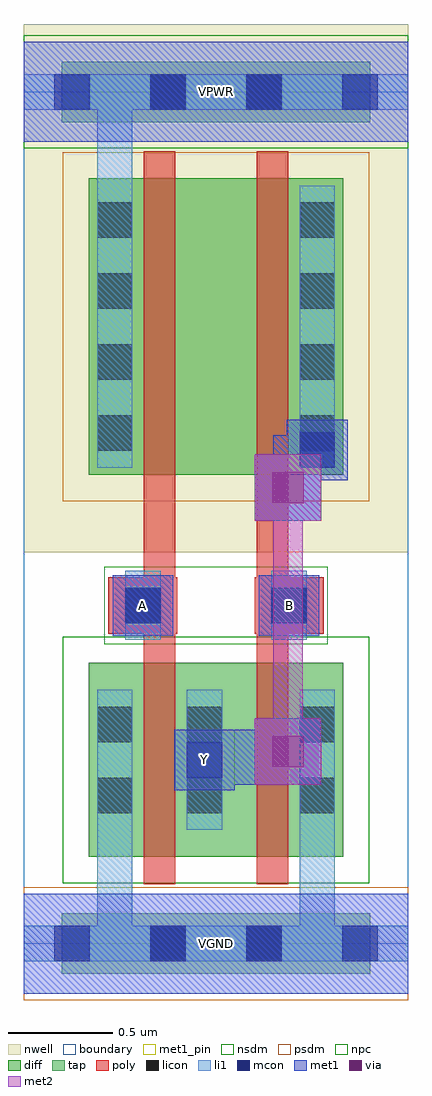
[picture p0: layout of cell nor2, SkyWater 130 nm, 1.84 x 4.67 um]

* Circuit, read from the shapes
.subckt nor2 A B VGND VPWR Y
XM1 Y A VGND VGND sky130_fd_pr__nfet_01v8 w=0.93 l=0.15
XM2 VGND B Y VGND sky130_fd_pr__nfet_01v8 w=0.93 l=0.15
XM3 n1 A VPWR VPWR sky130_fd_pr__pfet_01v8 w=1.42 l=0.15
XM4 Y B n1 VPWR sky130_fd_pr__pfet_01v8 w=1.42 l=0.15
.ends

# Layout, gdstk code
import gdstk
lib = gdstk.Library(unit=1e-6, precision=1e-09)
def R(c, l, rs):  # rectangles x0, y0, x1, y1
    for r in rs: c.add(gdstk.rectangle(r[:2], r[2:], *l))
def A(c, l, x, y, w, h, nx, ny, dx, dy):  # array of equal rectangles
    R(c, l, [(x+i*dx, y+j*dy, x+i*dx+w, y+j*dy+h) for i in range(nx) for j in range(ny)])
nwell = (64, 20)
diff = (65, 20)
tap = (65, 44)
poly = (66, 20)
licon = (66, 44)
li1 = (67, 20)
mcon = (67, 44)
met1_pin = (68, 16)
met1 = (68, 20)
via = (68, 44)
met2 = (69, 20)
nsdm = (93, 44)
psdm = (94, 20)
npc = (95, 20)
boundary = (235, 4)

nor2 = lib.new_cell('nor2')
R(nor2, nwell, [(0,1.875,1.84,4.405)])
R(nor2, diff, [(0.31,0.415,1.53,1.345), (0.31,2.245,1.53,3.665)])
R(nor2, tap, [(0.18,-0.145,1.66,0.145), (0.18,3.935,1.66,4.225)])
R(nor2, poly, [(0.575,0.285,0.725,3.795), (1.115,0.285,1.265,3.795), (0.405,1.485,0.735,1.755), (1.105,1.485,1.435,1.755)])
A(nor2, licon, 0.35, 2.36, 0.17, 0.17, 1, 4, 0, 0.34)
A(nor2, licon, 1.32, 2.36, 0.17, 0.17, 1, 4, 0, 0.34)
R(nor2, licon, [(0.605,-0.085,0.775,0.085), (1.065,-0.085,1.235,0.085), (0.35,0.625,0.52,0.795), (0.78,0.625,0.95,0.795), (1.32,0.625,1.49,0.795), (0.35,0.965,0.52,1.135), (0.78,0.965,0.95,1.135), (1.32,0.965,1.49,1.135), (0.485,1.535,0.655,1.705), (1.185,1.535,1.355,1.705), (0.605,3.995,0.775,4.165), (1.065,3.995,1.235,4.165)])
R(nor2, li1, [(0,-0.085,1.84,0.085), (0.35,-0.085,0.52,1.215), (1.32,-0.085,1.49,1.215), (0.35,0.545,0.52,1.215), (0.78,0.545,0.95,1.215), (1.32,0.545,1.49,1.215), (0.485,1.455,0.655,1.785), (1.185,1.455,1.355,1.785), (0.35,2.28,0.52,3.63), (0.35,2.28,0.52,4.165), (1.32,2.28,1.49,3.63), (0,3.995,1.84,4.165)])
A(nor2, mcon, 0.145, -0.085, 0.17, 0.17, 4, 2, 0.46, 4.08)
R(nor2, mcon, [(0.78,0.795,0.95,0.965), (0.485,1.535,0.655,1.705), (1.185,1.535,1.355,1.705), (1.32,2.28,1.49,2.45)])
R(nor2, met1_pin, [(0,-0.24,1.84,0.24), (0.72,0.735,1.01,1.025), (0.425,1.475,0.715,1.765), (1.125,1.475,1.415,1.765), (0,3.84,1.84,4.32)])
R(nor2, met1, [(0,-0.24,1.84,0.24), (0.72,0.735,1.01,1.025), (1.01,0.76,1.105,1.025), (1.01,0.76,1.105,1.025), (1.01,0.76,1.105,1.025), (1.105,0.76,1.425,1.08), (0.85,0.85,0.99,0.99), (0.85,0.85,1.335,0.99), (0.99,0.85,1.105,0.99), (0.99,0.85,1.105,0.99), (0.99,0.85,1.105,0.99), (0.99,0.85,1.105,0.99), (0.99,0.85,1.105,0.99), (0.99,0.85,1.105,0.99), (0.99,0.85,1.01,0.99), (0.99,0.85,1.01,0.99), (0.99,0.85,1.01,0.99), (0.99,0.85,1.01,0.99), (0.99,0.85,1.01,0.99), (0.99,0.85,1.01,0.99), (1.01,0.85,1.105,0.99), (1.01,0.85,1.105,0.99), (1.01,0.85,1.105,0.99), (1.01,0.85,1.105,0.99), (0.425,1.475,0.715,1.765), (1.125,1.475,1.415,1.765), (1.105,2.025,1.425,2.345), (1.195,2.115,1.335,2.435), (1.26,2.22,1.55,2.51), (1.195,2.295,1.475,2.435), (0,3.84,1.84,4.32)])
R(nor2, via, [(1.19,0.845,1.34,0.995), (1.19,2.11,1.34,2.26)])
R(nor2, met2, [(1.105,0.76,1.425,1.08), (1.195,0.85,1.335,2.255), (1.105,2.025,1.425,2.345)])
R(nor2, nsdm, [(0.185,0.29,1.655,1.47), (0,3.81,1.84,4.35)])
R(nor2, psdm, [(0,-0.27,1.84,0.27), (0.185,2.12,1.655,3.79)])
R(nor2, npc, [(0.385,1.435,1.455,1.805)])
R(nor2, boundary, [(0,0,1.84,4.08)])
nor2.add(gdstk.Label('A', (0.57,1.62), layer=68, texttype=5))
nor2.add(gdstk.Label('B', (1.27,1.62), layer=68, texttype=5))
nor2.add(gdstk.Label('Y', (0.865,0.88), layer=68, texttype=5))
nor2.add(gdstk.Label('VPWR', (0.92,4.08), layer=68, texttype=5))
nor2.add(gdstk.Label('VGND', (0.92,0), layer=68, texttype=5))
nor2.add(gdstk.Label('A', (0.57,1.62), layer=68, texttype=16))
nor2.add(gdstk.Label('B', (1.27,1.62), layer=68, texttype=16))
nor2.add(gdstk.Label('Y', (0.865,0.88), layer=68, texttype=16))
nor2.add(gdstk.Label('VPWR', (0.92,4.08), layer=68, texttype=16))
nor2.add(gdstk.Label('VGND', (0.92,0), layer=68, texttype=16))

lib.write_gds('nor2.gds')
